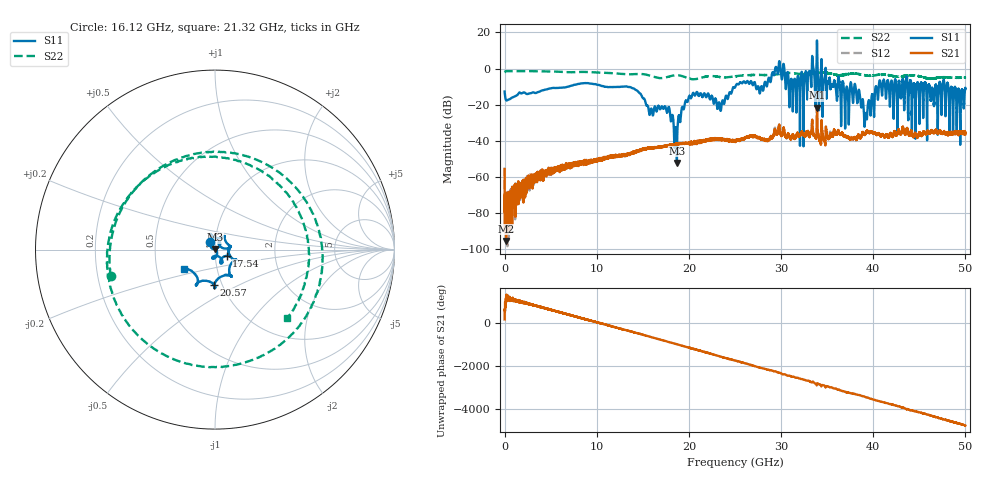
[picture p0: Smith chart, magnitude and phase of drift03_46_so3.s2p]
!Created with skrf (http://scikit-rf.org).
# Hz S RI R 50.0
!freq ReS11 ImS11 ReS21 ImS21 ReS12 ImS12 ReS22 ImS22
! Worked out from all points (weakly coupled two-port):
!   10001 points, 300 kHz to 50 GHz, reference 50 ohm
!   highest |S21| = -21.58 dB at 33.9 GHz (marker M1); lowest = -95.3 dB at 155.3 MHz (marker M2)
!   lowest |S11| = -52.2 dB at 18.7 GHz (marker M3), VSWR 1.00, Z = 50 + j0.242 ohm
!   |S11| at or under -10 dB: start of sweep to 6.942 GHz; 13.32 GHz to 25.04 GHz (11.73 GHz wide, 61.1 % of centre); 38.08 GHz to 40.26 GHz (2.181 GHz wide, 5.57 % of centre) (the widest 3 of 62)
!   |S22| runs from -5.9 to -1.3 dB; largest |S21 - S12| = 0.0071
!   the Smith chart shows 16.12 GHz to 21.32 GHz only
!   S11 on the Smith chart (normalised r, x): 16.12 GHz: 0.94, +0.08; 17.54 GHz: 1.14, -0.08; 20.57 GHz: 0.92, -0.37; 21.32 GHz: 0.69, -0.16
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300000  -0.2094 -0.0996  -0.00133 0.000981  0.000569 0.00175  -0.7626 -0.1884
1.552991e8  -0.1193 0.0612  2.07e-06 -1.71e-05  -9.71e-05 0.000235  -0.8069 0.2505
1.535291e9  0.2052 0.0434  -0.000298 -0.000342  -1.66e-06 -0.000253  0.8487 0.0775
3.160281e9  -0.2187 -0.00841  1.6e-05 0.000737  0.000108 0.000977  -0.8441 -0.0249
4.665272e9  0.2635 0.0614  -0.000114 -0.00126  -0.000159 -0.00154  0.8189 0.1428
6.360262e9  -0.2996 1.09e-05  0.000609 0.00167  0.000398 0.00172  -0.8033 -0.0426
8.33525e9  0.284 -0.2675  -0.00203 -0.000953  -0.0024 -0.000982  0.6024 -0.5353
9.575243e9  -0.3716 -0.0483  0.00134 0.00268  0.00136 0.00253  -0.786 -0.0957
1.124523e10  0.3056 0.0233  -0.00212 -0.00245  -0.00221 -0.00282  0.7571 0.0208
1.61202e10  -0.03 0.0425  0.0062 0.00232  0.00627 0.00205  -0.5813 -0.1462
1.66702e10  0.0537 0.0756  0.00451 -0.00475  0.0047 -0.00488  -0.3602 0.418
1.753519e10  0.0649 -0.0352  -0.00617 -0.00383  -0.00607 -0.00399  0.4985 0.2818
1.869519e10  0.000335 0.00242  0.00254 0.00774  0.00235 0.00781  -0.0885 -0.6485
2.057018e10  -0.00616 -0.1957  -0.0081 -0.00587  -0.00777 -0.00489  0.3701 0.3476
2.131517e10  -0.1718 -0.1078  -0.00525 0.00833  -0.00528 0.0078  0.3999 -0.3823
2.500015e10  -0.2973 -0.0479  0.0076 0.00614  0.00796 0.00626  -0.1836 -0.5828
3.052012e10  0.2275 -0.1484  -0.00173 0.0129  -0.00188 0.0126  0.7432 -0.0709
3.213011e10  0.205 0.3703  -0.000317 -0.0152  -0.000405 -0.015  -0.7047 0.00805
3.33351e10  0.4921 -1.005  -0.00507 0.0251  -0.00561 0.0246  0.6134 0.3686
3.39001e10  1.762 -5.476  0.0723 0.0414  0.0696 0.035  0.673 -0.3241
4.167005e10  -0.2238 0.282  -0.0119 -0.00474  -0.0119 -0.00507  -0.6541 -0.055
5e10  -0.1477 -0.2438  0.001 -0.0153  0.00122 -0.0163  0.4678 -0.3127
